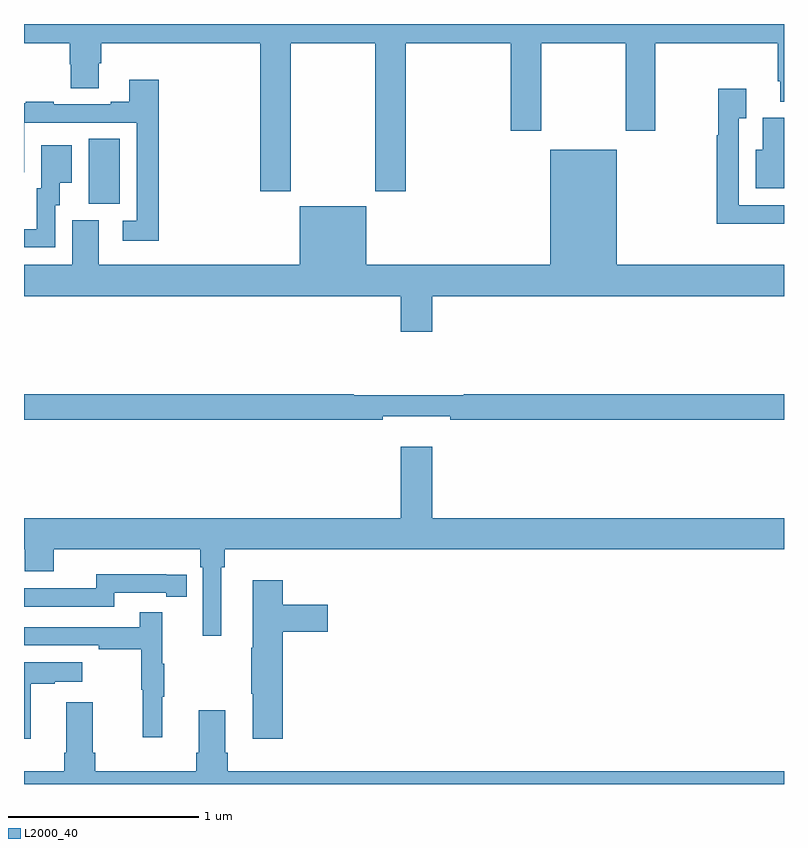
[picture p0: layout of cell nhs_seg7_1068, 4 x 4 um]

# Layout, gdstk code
import gdstk
lib = gdstk.Library(unit=1e-6, precision=1e-09)
def R(c, l, rs):  # rectangles x0, y0, x1, y1
    for r in rs: c.add(gdstk.rectangle(r[:2], r[2:], *l))
def P(c, l, *ps):  # polygons
    for p in ps: c.add(gdstk.Polygon(p, *l))
L2000_40 = (2000, 40)

nhs_seg7_1068 = lib.new_cell('nhs_seg7_1068')
R(nhs_seg7_1068, L2000_40, [(187.34,1049.053,187.504,1049.396)])
P(nhs_seg7_1068, L2000_40, [(188.403,1049.9),(188.848,1049.9),(188.848,1049.121),(189.008,1049.121),(189.008,1049.9),(189.563,1049.9),(189.563,1049.439),(189.723,1049.439),(189.723,1049.9),(190.168,1049.9),(190.168,1049.439),(190.323,1049.439),(190.323,1049.9),(190.967,1049.9),(190.967,1049.698),(190.979,1049.698),(190.979,1049.591),(191,1049.591),(191,1050),(187,1050),(187,1049.9),(187.241,1049.9),(187.241,1049.787),(187.246,1049.787),(187.246,1049.662),(187.393,1049.662),(187.393,1049.794),(187.406,1049.794),(187.406,1049.9),(188.243,1049.9),(188.243,1049.121),(188.403,1049.121)],
  [(187.709,1049.707),(187.553,1049.707),(187.553,1049.59),(187.457,1049.59),(187.457,1049.577),(187.157,1049.577),(187.157,1049.59),(187.009,1049.59),(187.009,1049.583),(187,1049.583),(187,1049.22),(187.002,1049.22),(187.002,1049.481),(187.593,1049.481),(187.593,1048.965),(187.521,1048.965),(187.521,1048.86),(187.709,1048.86)],
  [(190.937,1048.95),(191,1048.95),(191,1049.046),(190.761,1049.046),(190.761,1049.503),(190.801,1049.503),(190.801,1049.659),(190.653,1049.659),(190.653,1049.414),(190.645,1049.414),(190.645,1048.949),(190.937,1048.949)],
  [(191,1049.506),(190.889,1049.506),(190.889,1049.338),(190.85,1049.338),(190.85,1049.135),(191,1049.135)],
  [(187.164,1049.046),(187.189,1049.046),(187.189,1049.165),(187.252,1049.165),(187.252,1049.362),(187.091,1049.362),(187.091,1049.136),(187.067,1049.136),(187.067,1048.92),(187,1048.92),(187,1048.824),(187.164,1048.824)],
  [(189.148,1048.568),(191,1048.568),(191,1048.732),(190.12,1048.732),(190.12,1049.338),(189.77,1049.338),(189.77,1048.732),(188.8,1048.732),(188.8,1049.041),(188.45,1049.041),(188.45,1048.732),(187.393,1048.732),(187.393,1048.968),(187.253,1048.968),(187.253,1048.732),(187,1048.732),(187,1048.568),(188.984,1048.568),(188.984,1048.38),(189.148,1048.38)],
  [(188.888,1047.935),(189.244,1047.935),(189.244,1047.916),(191,1047.916),(191,1048.052),(189.315,1048.052),(189.315,1048.045),(188.735,1048.045),(188.735,1048.052),(187,1048.052),(187,1047.916),(188.888,1047.916)],
  [(187,1047.236),(187.004,1047.236),(187.004,1047.119),(187.156,1047.119),(187.156,1047.236),(187.928,1047.236),(187.928,1047.14),(187.941,1047.14),(187.941,1046.781),(188.038,1046.781),(188.038,1047.14),(188.057,1047.14),(188.057,1047.236),(191,1047.236),(191,1047.4),(189.148,1047.4),(189.148,1047.775),(188.984,1047.775),(188.984,1047.4),(187,1047.4)],
  [(187.476,1047.006),(187.748,1047.006),(187.748,1046.986),(187.856,1046.986),(187.856,1047.102),(187.748,1047.102),(187.748,1047.103),(187.38,1047.103),(187.38,1047.03),(187,1047.03),(187,1046.934),(187.476,1046.934)],
  [(188.363,1046.801),(188.599,1046.801),(188.599,1046.943),(188.363,1046.943),(188.363,1047.073),(188.204,1047.073),(188.204,1046.717),(188.197,1046.717),(188.197,1046.476),(188.204,1046.476),(188.204,1046.238),(188.363,1046.238)],
  [(187.727,1046.459),(187.738,1046.459),(187.738,1046.633),(187.727,1046.633),(187.727,1046.905),(187.609,1046.905),(187.609,1046.826),(187,1046.826),(187,1046.73),(187.393,1046.73),(187.393,1046.71),(187.617,1046.71),(187.617,1046.496),(187.624,1046.496),(187.624,1046.247),(187.727,1046.247)],
  [(187.036,1046.527),(187.163,1046.527),(187.163,1046.537),(187.306,1046.537),(187.306,1046.641),(187,1046.641),(187,1046.238),(187.036,1046.238)],
  [(191,1046.068),(188.072,1046.068),(188.072,1046.164),(188.059,1046.164),(188.059,1046.389),(187.919,1046.389),(187.919,1046.164),(187.907,1046.164),(187.907,1046.068),(187.376,1046.068),(187.376,1046.164),(187.363,1046.164),(187.363,1046.43),(187.223,1046.43),(187.223,1046.164),(187.211,1046.164),(187.211,1046.068),(187,1046.068),(187,1046),(191,1046)])

lib.write_gds('nhs_seg7_1068.gds')
